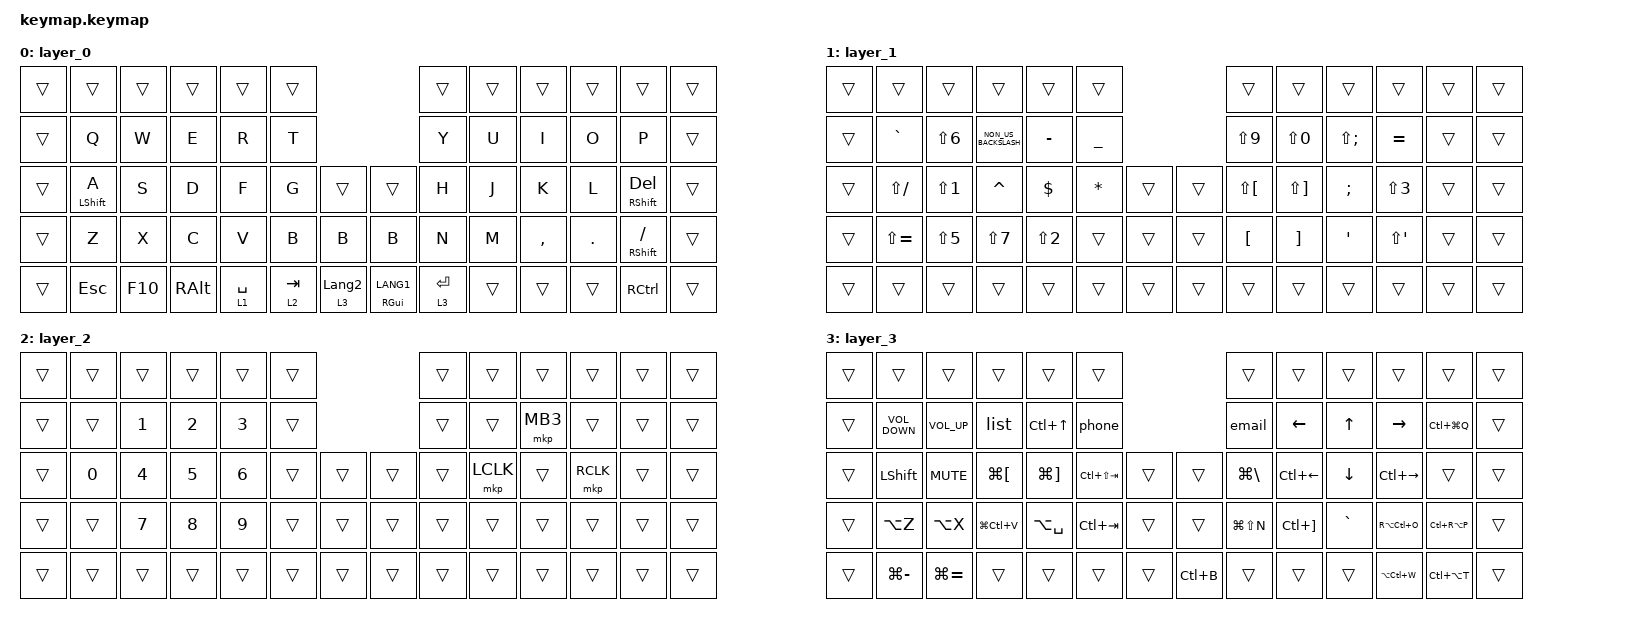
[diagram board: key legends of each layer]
#include <behaviors.dtsi>
#include <dt-bindings/zmk/bt.h>
#include <dt-bindings/zmk/keys.h>
#include <dt-bindings/zmk/pointing.h>

/ {
    combos {
        compatible = "zmk,combos";

        bt_clear {
            bindings = <&bt BT_CLR>;
            key-positions = <28 29>;
            layers = <2>;
        };
    };

    macros {
        list: list {
            compatible = "zmk,behavior-macro";
            #binding-cells = <0>;
            bindings = <&kp LANGUAGE_2 &kp SPACE &kp MINUS &kp SPACE &kp LANGUAGE_1>;
            label = "LIST";
        };

        email: new_macro {
            compatible = "zmk,behavior-macro";
            #binding-cells = <0>;
            bindings = <&none &kp C &kp O &kp H &kp K &kp I &kp N0 &kp N3 &kp N0 &kp N5 &kp AT &kp G &kp M &kp A &kp I &kp L &kp DOT &kp C &kp O &kp M>;
            label = "NEW_MACRO";
        };

        phone: address {
            compatible = "zmk,behavior-macro";
            #binding-cells = <0>;
            bindings = <&none &kp N0 &kp N8 &kp N0 &kp N5 &kp N3 &kp N5 &kp N9 &kp N5 &kp N1 &kp N5 &kp N0>;
            label = "ADDRESS";
        };
    };

    behaviors {
        hm: hm {
            compatible = "zmk,behavior-hold-tap";
            label = "HM";
            bindings = <&kp>, <&kp>;

            #binding-cells = <2>;
            tapping-term-ms = <200>;
            quick-tap-ms = <175>;
            require-prior-idle-ms = <150>;
            flavor = "tap-preferred";
        };
    };

    keymap {
        compatible = "zmk,keymap";

        layer_0 {
            bindings = <
&trans  &trans            &trans   &trans         &trans       &trans                                            &trans       &trans  &trans     &trans   &trans                  &trans
&trans  &kp Q             &kp W    &kp E          &kp R        &kp T                                             &kp Y        &kp U   &kp I      &kp O    &kp P                   &trans
&trans  &hm LEFT_SHIFT A  &kp S    &kp D          &kp F        &kp G      &trans            &trans               &kp H        &kp J   &kp K      &kp L    &mt RIGHT_SHIFT DELETE  &trans
&trans  &kp Z             &kp X    &kp C          &kp V        &kp B      &kp B             &kp B                &kp N        &kp M   &kp COMMA  &kp DOT  &mt RIGHT_SHIFT FSLH    &trans
&trans  &kp ESCAPE        &kp F10  &kp RIGHT_ALT  &lt 1 SPACE  &lt 2 TAB  &lt 3 LANGUAGE_2  &mt RIGHT_GUI LANG1  &lt 3 ENTER  &trans  &trans     &trans   &kp RCTRL               &trans
            >;
        };

        layer_1 {
            bindings = <
&trans  &trans         &trans            &trans                &trans            &trans                          &trans                &trans                 &trans             &trans                &trans  &trans
&trans  &kp GRAVE      &kp LS(NUMBER_6)  &kp NON_US_BACKSLASH  &kp MINUS         &kp UNDERSCORE                  &kp LS(N9)            &kp LS(N0)             &kp LS(SEMICOLON)  &kp EQUAL             &trans  &trans
&trans  &kp LS(SLASH)  &kp LS(NUMBER_1)  &kp CARET             &kp DOLLAR        &kp ASTERISK    &trans  &trans  &kp LS(LEFT_BRACKET)  &kp LS(RIGHT_BRACKET)  &kp SEMICOLON      &kp LS(NUMBER_3)      &trans  &trans
&trans  &kp LS(EQUAL)  &kp LS(N5)        &kp LS(N7)            &kp LS(NUMBER_2)  &trans          &trans  &trans  &kp LEFT_BRACKET      &kp RIGHT_BRACKET      &kp SINGLE_QUOTE   &kp LS(SINGLE_QUOTE)  &trans  &trans
&trans  &trans         &trans            &trans                &trans            &trans          &trans  &trans  &trans                &trans                 &trans             &trans                &trans  &trans
            >;
        };

        layer_2 {
            bindings = <
&trans  &trans  &trans        &trans        &trans        &trans                  &trans  &trans     &trans    &trans     &trans  &trans
&trans  &trans  &kp NUMBER_1  &kp NUMBER_2  &kp NUMBER_3  &trans                  &trans  &trans     &mkp MB3  &trans     &trans  &trans
&trans  &kp N0  &kp NUMBER_4  &kp N5        &kp NUMBER_6  &trans  &trans  &trans  &trans  &mkp LCLK  &trans    &mkp RCLK  &trans  &trans
&trans  &trans  &kp N7        &kp N8        &kp N9        &trans  &trans  &trans  &trans  &trans     &trans    &trans     &trans  &trans
&trans  &trans  &trans        &trans        &trans        &trans  &trans  &trans  &trans  &trans     &trans    &trans     &trans  &trans
            >;
        };

        layer_3 {
            bindings = <
&trans  &trans             &trans           &trans                &trans                 &trans                              &trans             &trans                 &trans        &trans         &trans         &trans
&trans  &kp C_VOLUME_DOWN  &kp C_VOLUME_UP  &list                 &kp LC(UP_ARROW)       &phone                              &email             &kp LEFT_ARROW         &kp UP_ARROW  &kp RIGHT      &kp LC(LG(Q))  &trans
&trans  &kp LEFT_SHIFT     &kp C_MUTE       &kp LG(LEFT_BRACKET)  &kp LG(RIGHT_BRACKET)  &kp LC(LS(TAB))  &trans  &trans     &kp LG(BACKSLASH)  &kp LC(LEFT)           &kp DOWN      &kp LC(RIGHT)  &trans         &trans
&trans  &kp LA(Z)          &kp LA(X)        &kp LG(LC(V))         &kp LA(SPACE)          &kp LC(TAB)      &trans  &trans     &kp LG(LS(N))      &kp LC(RIGHT_BRACKET)  &kp GRAVE     &kp RA(LC(O))  &kp LC(RA(P))  &trans
&trans  &kp LG(MINUS)      &kp LG(EQUAL)    &trans                &trans                 &trans           &trans  &kp LC(B)  &trans             &trans                 &trans        &kp LA(LC(W))  &kp LC(LA(T))  &trans
            >;
        };
    };
};
